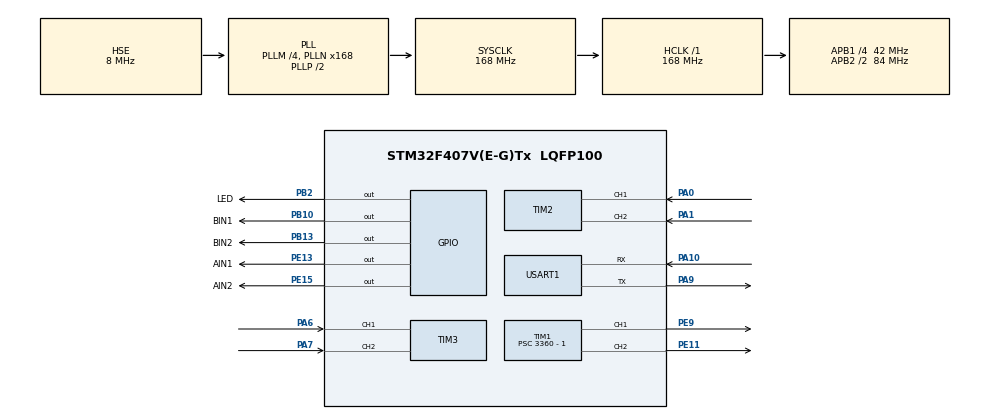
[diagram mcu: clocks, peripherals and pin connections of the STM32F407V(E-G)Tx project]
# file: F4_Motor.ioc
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Mcu.Family=STM32F4
Mcu.Name=STM32F407V(E-G)Tx
Mcu.Package=LQFP100
NVIC.PriorityGroup=NVIC_PRIORITYGROUP_4
NVIC.TIM1_BRK_TIM9_IRQn=true\:0\:0\:false\:false\:true\:true\:true\:true
NVIC.TIM4_IRQn=true\:0\:0\:false\:false\:true\:true\:true\:true
PA0-WKUP.Signal=S_TIM2_CH1_ETR
PA1.Signal=S_TIM2_CH2
PA10.Mode=Asynchronous
PA10.Signal=USART1_RX
PA13.Mode=Serial_Wire
PA13.Signal=SYS_JTMS-SWDIO
PA14.Mode=Serial_Wire
PA14.Signal=SYS_JTCK-SWCLK
PA6.Signal=S_TIM3_CH1
PA7.Signal=S_TIM3_CH2
PA9.Mode=Asynchronous
PA9.Signal=USART1_TX
PB10.GPIO_Label=BIN1
PB10.Signal=GPIO_Output
PB13.GPIO_Label=BIN2
PB13.Signal=GPIO_Output
PB2.GPIO_Label=LED
PB2.Signal=GPIO_Output
PE11.Signal=S_TIM1_CH2
PE13.GPIO_Label=AIN1
PE13.Signal=GPIO_Output
PE15.GPIO_Label=AIN2
PE15.Signal=GPIO_Output
PE9.Signal=S_TIM1_CH1
PH0-OSC_IN.Mode=HSE-External-Oscillator
PH0-OSC_IN.Signal=RCC_OSC_IN
PH1-OSC_OUT.Mode=HSE-External-Oscillator
PH1-OSC_OUT.Signal=RCC_OSC_OUT
ProjectManager.HeapSize=0x200
ProjectManager.StackSize=0x800
ProjectManager.TargetToolchain=MDK-ARM V5.32
RCC.48MHZClocksFreq_Value=84000000
RCC.AHBFreq_Value=168000000
RCC.APB1CLKDivider=RCC_HCLK_DIV4
RCC.APB1Freq_Value=42000000
RCC.APB1TimFreq_Value=84000000
RCC.APB2CLKDivider=RCC_HCLK_DIV2
RCC.APB2Freq_Value=84000000
RCC.APB2TimFreq_Value=168000000
RCC.CortexFreq_Value=168000000
RCC.HCLKFreq_Value=168000000
RCC.HSE_VALUE=8000000
RCC.HSI_VALUE=16000000
RCC.LSE_VALUE=32768
RCC.PLLM=4
RCC.PLLN=168
RCC.PLLSourceVirtual=RCC_PLLSOURCE_HSE
RCC.SYSCLKFreq_VALUE=168000000
RCC.SYSCLKSource=RCC_SYSCLKSOURCE_PLLCLK
RCC.VCOOutputFreq_Value=336000000
SH.S_TIM1_CH1.0=TIM1_CH1,PWM Generation1 CH1
SH.S_TIM1_CH2.0=TIM1_CH2,PWM Generation2 CH2
SH.S_TIM2_CH1_ETR.0=TIM2_CH1,Encoder_Interface
SH.S_TIM2_CH2.0=TIM2_CH2,Encoder_Interface
SH.S_TIM3_CH1.0=TIM3_CH1,Encoder_Interface
SH.S_TIM3_CH2.0=TIM3_CH2,Encoder_Interface
TIM1.Channel-PWM\ Generation1\ CH1=TIM_CHANNEL_1
TIM1.Channel-PWM\ Generation2\ CH2=TIM_CHANNEL_2
TIM1.Period=100 - 1
TIM1.Prescaler=3360 - 1
TIM2.EncoderMode=TIM_ENCODERMODE_TI12
TIM3.EncoderMode=TIM_ENCODERMODE_TI12
TIM4.Period=100-1
TIM4.Prescaler=3360-1
USART1.VirtualMode=VM_ASYNC
VP_TIM1_VS_ClockSourceINT.Mode=Internal
VP_TIM4_VS_ClockSourceINT.Mode=Internal
board=custom

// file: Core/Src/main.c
/* USER CODE BEGIN Header */
/**
  ******************************************************************************
  * @file           : main.c
  * @brief          : Main program body
  ******************************************************************************
  * @attention
  *
  * Copyright (c) 2025 STMicroelectronics.
  * All rights reserved.
  *
  * This software is licensed under terms that can be found in the LICENSE file
  * in the root directory of this software component.
  * If no LICENSE file comes with this software, it is provided AS-IS.
  *
  ******************************************************************************
  */
/* USER CODE END Header */
#include "main.h"
#include "tim.h"
#include "usart.h"
#include "gpio.h"

/* USER CODE BEGIN Includes */
#include <stdio.h>
#include <string.h>
#include "pid.h"
/* USER CODE END Includes */

/* USER CODE BEGIN PM */
extern tPid pidMotor1Speed;
extern tPid pidMotor2Speed;
/* USER CODE END PM */

/* USER CODE BEGIN PV */
// 编码器和机械参数
#define ENCODER_PPR 13                  // 编码器线数（电机轴）
#define GEAR_RATIO 20                   // 减速比 1:20
#define OUTPUT_SHAFT_PPR 260            // 输出轴等效脉冲数 = 13 × 20
#define EFFECTIVE_PPR 1040              // 四倍频后脉冲数 = 260 × 4
#define WHEEL_DIAMETER 0.048            // 轮子直径48mm = 0.048m
#define WHEEL_CIRCUMFERENCE 0.1508      // 轮子周长 = π × 0.048 ≈ 0.1508m
#define SAMPLING_TIME 0.1              // 采样时间20ms = 0.02s

// 速度计算系数
#define SPEED_CALC_FACTOR (WHEEL_CIRCUMFERENCE / (EFFECTIVE_PPR * SAMPLING_TIME))
// 简化计算: 速度 = 脉冲数 × 0.000145

// 速度环全局变量
float Target_Speed_A = 0.0;      // A轮目标速度 (m/s)
float Target_Speed_B = 0.0;      // B轮目标速度 (m/s)
float Actual_Speed_A = 0.0;      // A轮实际速度 (m/s)
float Actual_Speed_B = 0.0;      // B轮实际速度 (m/s)
int32_t A_Count = 0;             // A编码器计数
int32_t B_Count = 0;             // B编码器计数

// PID参数（需要根据实际电机调整）
#define KP_SPEED 3.0f            // 速度环比例系数
#define KI_SPEED 0.8f            // 速度环积分系数
#define KD_SPEED 0.2f            // 速度环微分系数

// PID计算变量
float A_Error_Integral = 0.0;    // A轮误差积分
float A_Last_Error = 0.0;        // A轮上次误差
float B_Error_Integral = 0.0;    // B轮误差积分
float B_Last_Error = 0.0;        // B轮上次误差

// PWM限制
#define MAX_PWM 100              // 最大PWM值
#define MIN_PWM 0                // 最小PWM值
/* USER CODE END PV */

void SystemClock_Config(void);

int main(void)
{

  /* USER CODE BEGIN 1 */
//	HAL_Delay(100);
  /* USER CODE END 1 */

  /* MCU Configuration--------------------------------------------------------*/

  /* Reset of all peripherals, Initializes the Flash interface and the Systick. */
  HAL_Init();

  /* Configure the system clock */
  SystemClock_Config();

  /* Initialize all configured peripherals */
  MX_GPIO_Init();
  MX_TIM1_Init();
  MX_TIM2_Init();
  MX_TIM3_Init();
  MX_USART1_UART_Init();
  MX_TIM4_Init();
  HAL_Delay(100);
  /* USER CODE BEGIN 2 */
  HAL_TIM_PWM_Start(&htim1,TIM_CHANNEL_1);
  HAL_TIM_PWM_Start(&htim1,TIM_CHANNEL_2);
  HAL_GPIO_WritePin(AIN1_GPIO_Port,AIN1_Pin,GPIO_PIN_RESET);
  HAL_GPIO_WritePin(AIN2_GPIO_Port,AIN2_Pin,GPIO_PIN_SET);
  HAL_GPIO_WritePin(BIN1_GPIO_Port,BIN1_Pin,GPIO_PIN_RESET);
  HAL_GPIO_WritePin(BIN2_GPIO_Port,BIN2_Pin,GPIO_PIN_SET);
  HAL_TIM_Encoder_Start(&htim2,TIM_CHANNEL_ALL);
  HAL_TIM_Encoder_Start(&htim3,TIM_CHANNEL_ALL);
  __HAL_TIM_SetCompare(&htim1,TIM_CHANNEL_1,0);
  __HAL_TIM_SetCompare(&htim1,TIM_CHANNEL_2,0);
  HAL_TIM_Base_Start_IT(&htim4);
  PID_init();

  // HAL_TIM_Base_Start_IT(&htim4);
  /* USER CODE END 2 */

  /* Infinite loop */
  /* USER CODE BEGIN WHILE */
  while (1)
  {
	  HAL_GPIO_TogglePin(LED_GPIO_Port,LED_Pin);
	  HAL_Delay(200);
    /* USER CODE END WHILE */

  }
}

void SystemClock_Config(void)
{
  RCC_OscInitTypeDef RCC_OscInitStruct = {0};
  RCC_ClkInitTypeDef RCC_ClkInitStruct = {0};

  /** Configure the main internal regulator output voltage
  */
  __HAL_RCC_PWR_CLK_ENABLE();
  __HAL_PWR_VOLTAGESCALING_CONFIG(PWR_REGULATOR_VOLTAGE_SCALE1);

  /** Initializes the RCC Oscillators according to the specified parameters
  * in the RCC_OscInitTypeDef structure.
  */
  RCC_OscInitStruct.OscillatorType = RCC_OSCILLATORTYPE_HSE;
  RCC_OscInitStruct.HSEState = RCC_HSE_ON;
  RCC_OscInitStruct.PLL.PLLState = RCC_PLL_ON;
  RCC_OscInitStruct.PLL.PLLSource = RCC_PLLSOURCE_HSE;
  RCC_OscInitStruct.PLL.PLLM = 4;
  RCC_OscInitStruct.PLL.PLLN = 168;
  RCC_OscInitStruct.PLL.PLLP = RCC_PLLP_DIV2;
  RCC_OscInitStruct.PLL.PLLQ = 4;
  if (HAL_RCC_OscConfig(&RCC_OscInitStruct) != HAL_OK)
  {
    Error_Handler();
  }

  /** Initializes the CPU, AHB and APB buses clocks
  */
  RCC_ClkInitStruct.ClockType = RCC_CLOCKTYPE_HCLK|RCC_CLOCKTYPE_SYSCLK
                              |RCC_CLOCKTYPE_PCLK1|RCC_CLOCKTYPE_PCLK2;
  RCC_ClkInitStruct.SYSCLKSource = RCC_SYSCLKSOURCE_PLLCLK;
  RCC_ClkInitStruct.AHBCLKDivider = RCC_SYSCLK_DIV1;
  RCC_ClkInitStruct.APB1CLKDivider = RCC_HCLK_DIV4;
  RCC_ClkInitStruct.APB2CLKDivider = RCC_HCLK_DIV2;

  if (HAL_RCC_ClockConfig(&RCC_ClkInitStruct, FLASH_LATENCY_5) != HAL_OK)
  {
    Error_Handler();
  }
}

/* USER CODE BEGIN 4 */
void HAL_TIM_PeriodElapsedCallback(TIM_HandleTypeDef *htim)
{
  static uint32_t count = 0;
	if (htim->Instance == TIM4)
  {
    count++;
	if(count % 2 == 0)
	{

	  __HAL_TIM_SetCompare(&htim1,TIM_CHANNEL_1,PID_realize(&pidMotor1Speed,Actual_Speed_A));
	  __HAL_TIM_SetCompare(&htim1,TIM_CHANNEL_2,PID_realize(&pidMotor2Speed,Actual_Speed_B));
			      printf("%.2f,%.2f,%.2f,%.2f,%lu,%lu\r\n",
           Target_Speed_A, Target_Speed_B,
           Actual_Speed_A, Actual_Speed_B,
           (unsigned long)__HAL_TIM_GET_COMPARE(&htim1, TIM_CHANNEL_1),
           (unsigned long)__HAL_TIM_GET_COMPARE(&htim1, TIM_CHANNEL_2));

	}
    if (count >= 50)
    {
      A_Count =  (int32_t)__HAL_TIM_GET_COUNTER(&htim2);
      B_Count =  (int32_t)__HAL_TIM_GET_COUNTER(&htim3);
      __HAL_TIM_SetCounter(&htim2, 0);
      __HAL_TIM_SetCounter(&htim3, 0);
      Actual_Speed_A = A_Count * SPEED_CALC_FACTOR;
      Actual_Speed_B = B_Count * SPEED_CALC_FACTOR;

      // 速度滤波（减少噪声）
      static float filtered_A = 0.0, filtered_B = 0.0;
      filtered_A = 0.6f * filtered_A + 0.4f * Actual_Speed_A;
      filtered_B = 0.6f * filtered_B + 0.4f * Actual_Speed_B;
      Actual_Speed_A = filtered_A;
      Actual_Speed_B = filtered_B;

    }
    if (count >= 50)
    {
      count = 0;
      // __HAL_TIM_SET_COUNTER(&htim2, 0);
      // __HAL_TIM_SET_COUNTER(&htim3, 0);

    }

  }

}
/* USER CODE END 4 */

void Error_Handler(void)
{
  __disable_irq();
  while (1)
  {
  }
}
